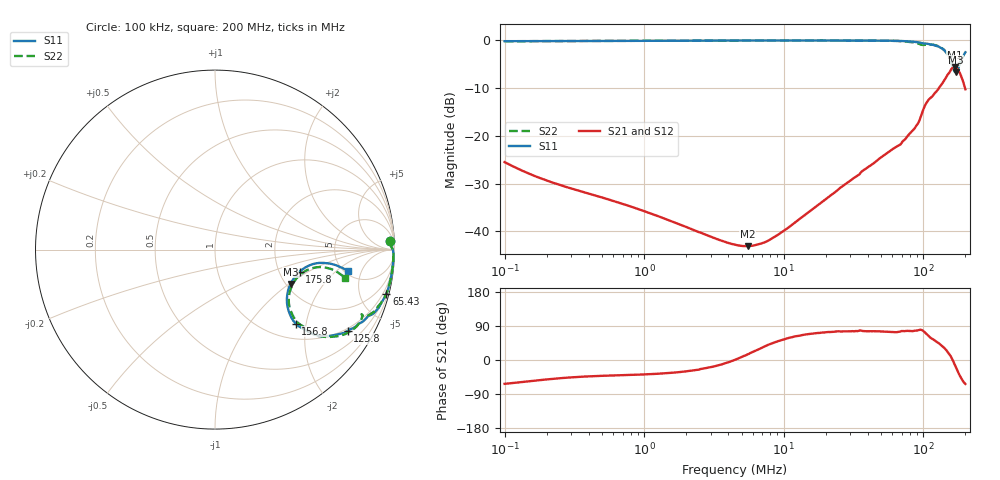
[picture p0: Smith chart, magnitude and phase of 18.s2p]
#  HZ  S  RI  R  50.00
! Rohde & Schwarz Vector Network Analyzer
! Rohde-Schwarz,ZNLE6-2Port,1323001256200024,1.71.1.10-23.02.1.238
! Created: UTC 4/7/2025, 7:42:18 AM
! freq[Hz]  re:S11  im:S11  re:S21  im:S21  re:S12  im:S12  re:S22  im:S22
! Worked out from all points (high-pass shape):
!   1001 points, 100 kHz to 200 MHz, reference 50 ohm
!   highest |S21| = -5.59 dB at 167.9 MHz (marker M1); lowest = -43.1 dB at 5.533 MHz (marker M2)
!   |S21| within 3 dB of the highest: 139.8 MHz to 192.3 MHz (52.49 MHz wide, 31.6 % of centre)
!   lowest |S11| = -6.7 dB at 170.5 MHz (marker M3), VSWR 2.72, Z = 106 - j51.4 ohm
!   |S11| at or under -10 dB: nowhere
!   |S22| runs from -6.5 to 0.0 dB; largest |S21 - S12| = 0.016
!   S11 on the Smith chart (normalised r, x): 100 kHz: 16, +34; 65.43 MHz: 0.44, -7.82; 125.8 MHz: 0.91, -3.32; 156.8 MHz: 1.33, -1.74; 175.8 MHz: 2.60, -0.83; 200 MHz: 5.34, -2.89
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100000  0.9762 0.0467  0.0241 -0.0472  0.0241 -0.0473  0.9762 0.0468
180917.4  0.9785 0.028  0.0216 -0.0286  0.0217 -0.0287  0.9787 0.0281
355854.1  0.9814 0.0172  0.0187 -0.0182  0.0188 -0.0182  0.9816 0.0172
1266322  0.9885 0.00533  0.0116 -0.00846  0.0116 -0.00849  0.9885 0.00499
4472136  0.9928 -0.0111  0.00723 5.85e-05  0.00721 -4.36e-05  0.9939 -0.0105
5532786  0.9934 -0.0157  0.00673 0.00185  0.00678 0.00168  0.9939 -0.0147
7908466  0.9937 -0.0251  0.00611 0.00538  0.00621 0.00526  0.9942 -0.0264
1.591428e7  0.9932 -0.0551  0.00594 0.0158  0.00611 0.0157  0.9935 -0.0583
3.616581e7  0.9846 -0.1297  0.00948 0.0412  0.0107 0.0408  0.984 -0.1361
5.663162e7  0.9674 -0.2104  0.0184 0.0654  0.0202 0.0645  0.9633 -0.2226
6.543025e7  0.9545 -0.2475  0.0221 0.0749  0.0229 0.0745  0.9461 -0.2649
8.667956e7  0.9022 -0.3354  0.0266 0.1168  0.0306 0.1162  0.8738 -0.3543
9.714762e7  0.8587 -0.3683  0.0315 0.1651  0.0365 0.1649  0.8187 -0.3641
1.064252e8  0.8302 -0.3943  0.0887 0.2083  0.0942 0.2068  0.8194 -0.3754
1.257961e8  0.7401 -0.4528  0.205 0.218  0.2084 0.2141  0.7446 -0.4597
1.431478e8  0.6028 -0.481  0.342 0.1937  0.3424 0.1867  0.5998 -0.4843
1.568184e8  0.4495 -0.4126  0.4779 0.0854  0.4753 0.0755  0.4612 -0.4071
1.679215e8  0.406 -0.232  0.5129 -0.1149  0.5066 -0.1286  0.4159 -0.238
1.704937e8  0.4209 -0.191  0.4957 -0.1623  0.4887 -0.1753  0.4301 -0.1988
1.757569e8  0.4722 -0.1223  0.4381 -0.2435  0.43 -0.2554  0.4809 -0.1343
1.853616e8  0.6012 -0.0739  0.2979 -0.31  0.2892 -0.3197  0.6029 -0.0985
2e8  0.7389 -0.1188  0.138 -0.2735  0.1315 -0.2794  0.725 -0.1587
